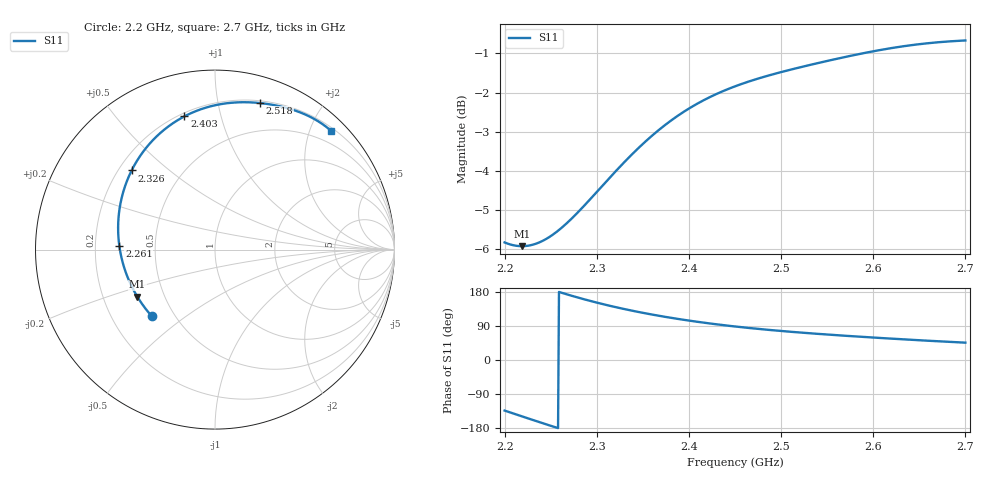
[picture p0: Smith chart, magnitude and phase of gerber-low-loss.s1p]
! PRELIMINARY bare PCB unless shell_eps > 0; see README.md
! L220 output ($1N324); all Gerber copper, components omitted (C216/L220/C217 not populated)
# Hz S RI R 50
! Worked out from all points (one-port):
!   501 points, 2.2 GHz to 2.7 GHz, reference 50 ohm
!   lowest |S11| = -5.9 dB at 2.219 GHz (marker M1), VSWR 3.05, Z = 17.5 - j12.3 ohm
!   |S11| at or under -10 dB: nowhere
!   S11 on the Smith chart (normalised r, x): 2.2 GHz: 0.38, -0.38; 2.261 GHz: 0.30, +0.02; 2.326 GHz: 0.25, +0.38; 2.403 GHz: 0.22, +0.77; 2.518 GHz: 0.22, +1.33; 2.7 GHz: 0.25, +2.35
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2.2e9  -0.352 -0.3713
2.206e9  -0.3797 -0.3385
2.219e9  -0.4329 -0.262
2.23e9  -0.4701 -0.1925
2.24e9  -0.4973 -0.1263
2.251e9  -0.5196 -0.0513
2.261e9  -0.5327 0.0181
2.263e9  -0.5345 0.032
2.278e9  -0.5396 0.1361
2.293e9  -0.5302 0.2376
2.309e9  -0.5054 0.3405
2.325e9  -0.4673 0.4353
2.326e9  -0.4645 0.4409
2.342e9  -0.4148 0.5252
2.357e9  -0.3605 0.5941
2.372e9  -0.3011 0.6528
2.388e9  -0.2344 0.7041
2.403e9  -0.1705 0.7422
2.426e9  -0.0738 0.7836
2.45e9  0.0218 0.8086
2.479e9  0.1269 0.8204
2.513e9  0.235 0.8179
2.518e9  0.2496 0.8166
2.545e9  0.3243 0.806
2.575e9  0.3999 0.7889
2.638e9  0.539 0.7353
2.671e9  0.6 0.6984
2.7e9  0.6458 0.6629
